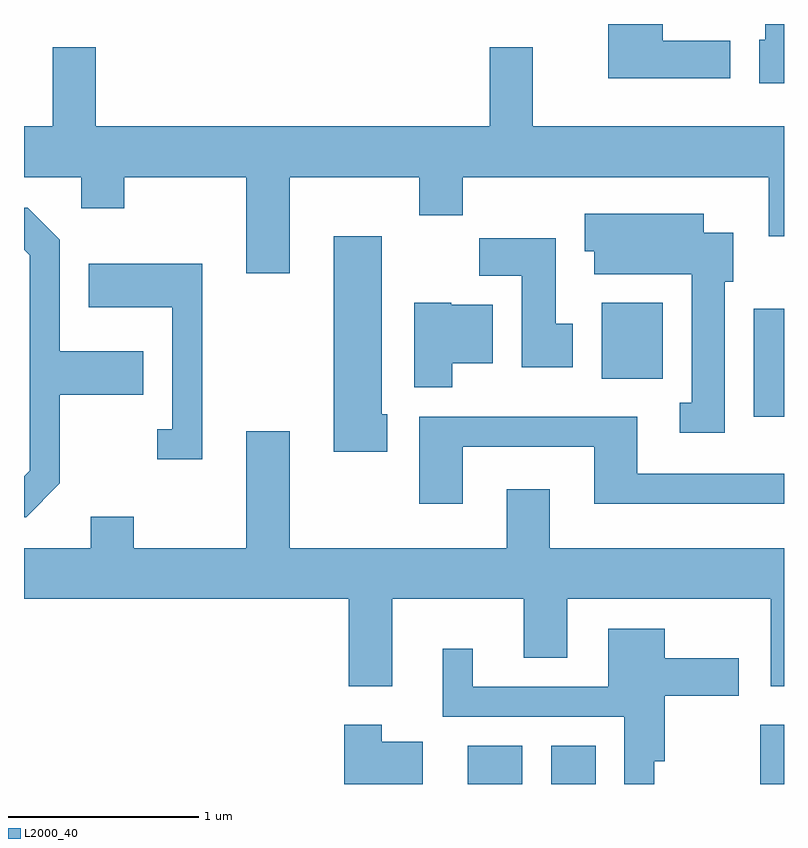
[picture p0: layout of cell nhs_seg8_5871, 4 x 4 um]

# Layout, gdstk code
import gdstk
lib = gdstk.Library(unit=1e-6, precision=1e-09)
def R(c, l, rs):  # rectangles x0, y0, x1, y1
    for r in rs: c.add(gdstk.rectangle(r[:2], r[2:], *l))
def P(c, l, *ps):  # polygons
    for p in ps: c.add(gdstk.Polygon(p, *l))
L2000_40 = (2000, 40)

nhs_seg8_5871 = lib.new_cell('nhs_seg8_5871')
R(nhs_seg8_5871, L2000_40, [(363.946,1824.342,364.234,1824.544), (364.386,1824.342,364.619,1824.544), (365.486,1824.342,365.611,1824.654), (365.451,1826.276,365.611,1826.844), (364.651,1826.476,364.974,1826.874)])
P(nhs_seg8_5871, L2000_40, [(365.329,1828.254),(364.974,1828.254),(364.974,1828.342),(364.686,1828.342),(364.686,1828.056),(365.329,1828.056)],
  [(365.611,1828.342),(365.511,1828.342),(365.511,1828.259),(365.481,1828.259),(365.481,1828.031),(365.611,1828.031)],
  [(361.989,1828.219),(361.761,1828.219),(361.761,1827.804),(361.611,1827.804),(361.611,1827.536),(361.911,1827.536),(361.911,1827.371),(362.139,1827.371),(362.139,1827.536),(362.781,1827.536),(362.781,1827.031),(363.009,1827.031),(363.009,1827.536),(363.691,1827.536),(363.691,1827.336),(363.919,1827.336),(363.919,1827.536),(365.531,1827.536),(365.531,1827.226),(365.611,1827.226),(365.611,1827.804),(364.289,1827.804),(364.289,1828.219),(364.061,1828.219),(364.061,1827.804),(361.989,1827.804)],
  [(361.799,1825.924),(361.799,1826.391),(362.239,1826.391),(362.239,1826.619),(361.799,1826.619),(361.799,1827.207),(361.632,1827.374),(361.611,1827.374),(361.611,1827.154),(361.641,1827.124),(361.641,1825.992),(361.611,1825.962),(361.611,1825.746),(361.622,1825.746)],
  [(365.299,1826.986),(365.344,1826.986),(365.344,1827.244),(365.189,1827.244),(365.189,1827.344),(364.561,1827.344),(364.561,1827.146),(364.611,1827.146),(364.611,1827.026),(365.126,1827.026),(365.126,1826.349),(365.063,1826.349),(365.063,1826.191),(365.299,1826.191)],
  [(363.524,1826.289),(363.494,1826.289),(363.494,1827.224),(363.241,1827.224),(363.241,1826.091),(363.524,1826.091)],
  [(364.499,1826.764),(364.409,1826.764),(364.409,1827.214),(364.006,1827.214),(364.006,1827.016),(364.231,1827.016),(364.231,1826.536),(364.499,1826.536)],
  [(362.549,1827.079),(361.951,1827.079),(361.951,1826.851),(362.391,1826.851),(362.391,1826.209),(362.313,1826.209),(362.313,1826.051),(362.549,1826.051)],
  [(363.864,1826.556),(364.079,1826.556),(364.079,1826.864),(363.86,1826.864),(363.86,1826.874),(363.666,1826.874),(363.666,1826.431),(363.864,1826.431)],
  [(363.919,1826.116),(364.611,1826.116),(364.611,1825.816),(365.611,1825.816),(365.611,1825.974),(364.839,1825.974),(364.839,1826.274),(363.691,1826.274),(363.691,1825.816),(363.919,1825.816)],
  [(363.549,1825.316),(364.241,1825.316),(364.241,1825.006),(364.469,1825.006),(364.469,1825.316),(365.541,1825.316),(365.541,1824.856),(365.611,1824.856),(365.611,1825.584),(364.379,1825.584),(364.379,1825.894),(364.151,1825.894),(364.151,1825.584),(363.009,1825.584),(363.009,1826.199),(362.781,1826.199),(362.781,1825.584),(362.189,1825.584),(362.189,1825.749),(361.961,1825.749),(361.961,1825.584),(361.611,1825.584),(361.611,1825.316),(363.321,1825.316),(363.321,1824.856),(363.549,1824.856)],
  [(364.929,1824.461),(364.984,1824.461),(364.984,1824.806),(365.374,1824.806),(365.374,1825.004),(364.984,1825.004),(364.984,1825.159),(364.686,1825.159),(364.686,1824.854),(363.974,1824.854),(363.974,1825.053),(363.816,1825.053),(363.816,1824.696),(364.771,1824.696),(364.771,1824.342),(364.929,1824.342)],
  [(363.709,1824.564),(363.494,1824.564),(363.494,1824.654),(363.296,1824.654),(363.296,1824.342),(363.709,1824.342)])

lib.write_gds('nhs_seg8_5871.gds')
